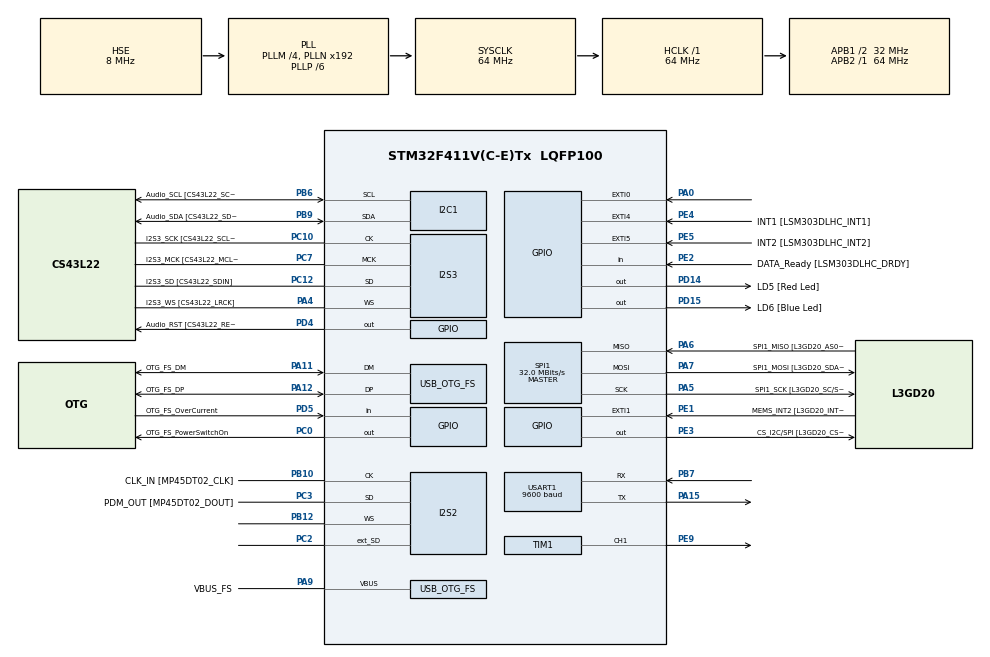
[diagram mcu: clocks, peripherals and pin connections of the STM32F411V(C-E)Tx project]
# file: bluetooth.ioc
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I2S2.AudioFreq=I2S_AUDIOFREQ_96K
I2S2.ErrorAudioFreq=0.15 %
I2S2.FullDuplexMode=I2S_FULLDUPLEXMODE_ENABLE
I2S2.Instance=SPI$Index
I2S2.RealAudioFreq=96.153 KHz
I2S2.VirtualMode=I2S_MODE_MASTER
I2S3.AudioFreq=I2S_AUDIOFREQ_96K
I2S3.ErrorAudioFreq=-6.99 %
I2S3.FullDuplexMode=I2S_FULLDUPLEXMODE_DISABLE
I2S3.Instance=SPI$Index
I2S3.RealAudioFreq=89.285 KHz
I2S3.VirtualMode=I2S_MODE_MASTER
Mcu.Family=STM32F4
Mcu.Name=STM32F411V(C-E)Tx
Mcu.Package=LQFP100
NVIC.OTG_FS_IRQn=true\:0\:0\:false\:false\:true\:true\:true
NVIC.PriorityGroup=NVIC_PRIORITYGROUP_0
PA0-WKUP.GPIO_ModeDefaultEXTI=GPIO_MODE_EVT_RISING
PA0-WKUP.Signal=GPXTI0
PA10.GPIO_Label=OTG_FS_ID
PA10.Signal=USB_OTG_FS_ID
PA11.GPIO_Label=OTG_FS_DM
PA11.Mode=Host_Only
PA11.Signal=USB_OTG_FS_DM
PA12.GPIO_Label=OTG_FS_DP
PA12.Mode=Host_Only
PA12.Signal=USB_OTG_FS_DP
PA13.GPIO_Label=SWDIO
PA13.Mode=Serial_Wire
PA13.Signal=SYS_JTMS-SWDIO
PA14.GPIO_Label=SWCLK
PA14.Mode=Serial_Wire
PA14.Signal=SYS_JTCK-SWCLK
PA15.Mode=Asynchronous
PA15.Signal=USART1_TX
PA4.GPIO_Label=I2S3_WS [CS43L22_LRCK]
PA4.GPIO_Mode=GPIO_MODE_AF_PP
PA4.GPIO_PuPd=GPIO_NOPULL
PA4.GPIO_Speed=GPIO_SPEED_FREQ_LOW
PA4.Mode=Half_Duplex_Master
PA4.Signal=I2S3_WS
PA5.GPIO_Label=SPI1_SCK [L3GD20_SC/SPC]
PA5.Mode=Full_Duplex_Master
PA5.Signal=SPI1_SCK
PA6.GPIO_Label=SPI1_MISO [L3GD20_AS0/SDO]
PA6.Mode=Full_Duplex_Master
PA6.Signal=SPI1_MISO
PA7.GPIO_Label=SPI1_MOSI [L3GD20_SDA/SDI/SDO]
PA7.Mode=Full_Duplex_Master
PA7.Signal=SPI1_MOSI
PA9.GPIO_Label=VBUS_FS
PA9.Mode=Activate_VBUS
PA9.Signal=USB_OTG_FS_VBUS
PB10.GPIO_Label=CLK_IN [MP45DT02_CLK]
PB10.Mode=Full_Duplex_Master
PB10.Signal=I2S2_CK
PB12.Mode=Full_Duplex_Master
PB12.Signal=I2S2_WS
PB3.GPIO_Label=SWO
PB3.Signal=SYS_JTDO-SWO
PB6.GPIO_Label=Audio_SCL [CS43L22_SCL]
PB6.GPIO_Mode=GPIO_MODE_AF_OD
PB6.GPIO_PuPd=GPIO_NOPULL
PB6.GPIO_Speed=GPIO_SPEED_FREQ_LOW
PB6.Mode=I2C
PB6.Signal=I2C1_SCL
PB7.Mode=Asynchronous
PB7.Signal=USART1_RX
PB9.GPIO_Label=Audio_SDA [CS43L22_SDA]
PB9.GPIO_Mode=GPIO_MODE_AF_OD
PB9.GPIO_PuPd=GPIO_NOPULL
PB9.GPIO_Speed=GPIO_SPEED_FREQ_LOW
PB9.Mode=I2C
PB9.Signal=I2C1_SDA
PC0.GPIO_Label=OTG_FS_PowerSwitchOn
PC0.PinState=GPIO_PIN_SET
PC0.Signal=GPIO_Output
PC10.GPIO_Label=I2S3_SCK [CS43L22_SCLK]
PC10.GPIO_Mode=GPIO_MODE_AF_PP
PC10.GPIO_PuPd=GPIO_NOPULL
PC10.GPIO_Speed=GPIO_SPEED_FREQ_LOW
PC10.Mode=Half_Duplex_Master
PC10.Signal=I2S3_CK
PC12.GPIO_Label=I2S3_SD [CS43L22_SDIN]
PC12.GPIO_Mode=GPIO_MODE_AF_PP
PC12.GPIO_PuPd=GPIO_NOPULL
PC12.GPIO_Speed=GPIO_SPEED_FREQ_LOW
PC12.Mode=Half_Duplex_Master
PC12.Signal=I2S3_SD
PC14-OSC32_IN.GPIO_Label=PC14-OSC32_IN
PC14-OSC32_IN.Mode=LSE-External-Oscillator
PC14-OSC32_IN.Signal=RCC_OSC32_IN
PC15-OSC32_OUT.GPIO_Label=PC15-OSC32_OUT
PC15-OSC32_OUT.Mode=LSE-External-Oscillator
PC15-OSC32_OUT.Signal=RCC_OSC32_OUT
PC2.Mode=Full_Duplex_Master
PC2.Signal=I2S2_ext_SD
PC3.GPIO_Label=PDM_OUT [MP45DT02_DOUT]
PC3.Mode=Full_Duplex_Master
PC3.Signal=I2S2_SD
PC7.GPIO_Label=I2S3_MCK [CS43L22_MCLK]
PC7.GPIO_Mode=GPIO_MODE_AF_PP
PC7.GPIO_PuPd=GPIO_NOPULL
PC7.GPIO_Speed=GPIO_SPEED_FREQ_LOW
PC7.Mode=Master_Clock_Activated
PC7.Signal=I2S3_MCK
PD14.GPIO_Label=LD5 [Red Led]
PD14.GPIO_PuPd=GPIO_NOPULL
PD14.GPIO_Speed=GPIO_SPEED_FREQ_LOW
PD14.Signal=GPIO_Output
PD15.GPIO_Label=LD6 [Blue Led]
PD15.GPIO_PuPd=GPIO_NOPULL
PD15.GPIO_Speed=GPIO_SPEED_FREQ_LOW
PD15.Signal=GPIO_Output
PD4.GPIO_Label=Audio_RST [CS43L22_RESET]
PD4.Signal=GPIO_Output
PD5.GPIO_Label=OTG_FS_OverCurrent
PD5.Signal=GPIO_Input
PE1.GPIO_Label=MEMS_INT2 [L3GD20_INT2]
PE1.GPIO_ModeDefaultEXTI=GPIO_MODE_EVT_RISING
PE1.Signal=GPXTI1
PE2.GPIO_Label=DATA_Ready [LSM303DLHC_DRDY]
PE2.Signal=GPIO_Input
PE3.GPIO_Label=CS_I2C/SPI [L3GD20_CS_I2C/SPI]
PE3.Signal=GPIO_Output
PE4.GPIO_Label=INT1 [LSM303DLHC_INT1]
PE4.GPIO_ModeDefaultEXTI=GPIO_MODE_EVT_RISING
PE4.Signal=GPXTI4
PE5.GPIO_Label=INT2 [LSM303DLHC_INT2]
PE5.GPIO_ModeDefaultEXTI=GPIO_MODE_EVT_RISING
PE5.Signal=GPXTI5
PE9.Signal=S_TIM1_CH1
PH0\ -\ OSC_IN.GPIO_Label=PH0-OSC_IN
PH0\ -\ OSC_IN.Mode=HSE-External-Clock-Source
PH0\ -\ OSC_IN.Signal=RCC_OSC_IN
PH1\ -\ OSC_OUT.GPIO_Label=PH1-OSC_OUT
PH1\ -\ OSC_OUT.Mode=HSE-External-Clock-Source
PH1\ -\ OSC_OUT.Signal=RCC_OSC_OUT
ProjectManager.HeapSize=0x200
ProjectManager.StackSize=0x400
ProjectManager.TargetToolchain=STM32CubeIDE
RCC.48MHZClocksFreq_Value=48000000
RCC.AHBFreq_Value=64000000
RCC.APB1CLKDivider=RCC_HCLK_DIV2
RCC.APB1Freq_Value=32000000
RCC.APB1TimFreq_Value=64000000
RCC.APB2Freq_Value=64000000
RCC.APB2TimFreq_Value=64000000
RCC.CortexFreq_Value=64000000
RCC.HCLKFreq_Value=64000000
RCC.HSE_VALUE=8000000
RCC.HSI_VALUE=16000000
RCC.PLLI2SM=5
RCC.PLLI2SN=200
RCC.PLLM=4
RCC.PLLP=RCC_PLLP_DIV6
RCC.PLLQ=8
RCC.SYSCLKFreq_VALUE=64000000
RCC.SYSCLKSource=RCC_SYSCLKSOURCE_PLLCLK
RCC.VCOOutputFreq_Value=384000000
SH.S_TIM1_CH1.0=TIM1_CH1,PWM Generation1 CH1
SPI1.BaudRatePrescaler=SPI_BAUDRATEPRESCALER_2
SPI1.CalculateBaudRate=32.0 MBits/s
SPI1.Direction=SPI_DIRECTION_2LINES
SPI1.Mode=SPI_MODE_MASTER
SPI1.VirtualType=VM_MASTER
TIM1.Channel-PWM\ Generation1\ CH1=TIM_CHANNEL_1
USART1.BaudRate=9600
USART1.VirtualMode=VM_ASYNC
USB_HOST.BSP.number=1
USB_HOST.USBH_HandleTypeDef=hUsbHostFS
USB_HOST.VirtualModeFS=Cdc
USB_HOST0.BSP.STBoard=false
USB_HOST0.BSP.api=Unknown
USB_HOST0.BSP.i2caddr=0
USB_HOST0.BSP.i2creg=0
USB_HOST0.BSP.instance=PC0
USB_HOST0.BSP.ip=GPIO
USB_HOST0.BSP.mode=Output
USB_HOST0.BSP.name=Drive_VBUS_FS
USB_HOST0.BSP.solution=PC0
USB_OTG_FS.VirtualMode=Host_Only
USB_OTG_FS.phy_itface=HCD_PHY_EMBEDDED
VP_USB_HOST_VS_USB_HOST_CDC_FS.Mode=CDC_FS
board=STM32F411E-DISCO

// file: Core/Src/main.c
/* USER CODE BEGIN Header */
/**
  ******************************************************************************
  * @file           : main.c
  * @brief          : Main program body
  ******************************************************************************
  * @attention
  *
  * <h2><center>&copy; Copyright (c) 2020 STMicroelectronics.
  * All rights reserved.</center></h2>
  *
  * This software component is licensed by ST under Ultimate Liberty license
  * SLA0044, the "License"; You may not use this file except in compliance with
  * the License. You may obtain a copy of the License at:
  *                             www.st.com/SLA0044
  *
  ******************************************************************************
  */
/* USER CODE END Header */

#include "main.h"
#include "usb_host.h"

I2C_HandleTypeDef hi2c1;

I2S_HandleTypeDef hi2s2;
I2S_HandleTypeDef hi2s3;

SPI_HandleTypeDef hspi1;

TIM_HandleTypeDef htim1;

UART_HandleTypeDef huart1;

void SystemClock_Config(void);
static void MX_GPIO_Init(void);
static void MX_I2C1_Init(void);
static void MX_I2S2_Init(void);
static void MX_I2S3_Init(void);
static void MX_SPI1_Init(void);
static void MX_USART1_UART_Init(void);
static void MX_TIM1_Init(void);
void MX_USB_HOST_Process(void);

/* USER CODE BEGIN 0 */
#ifndef DWT_STM32_DELAY_H
#define DWT_STM32_DELAY_H

#ifdef __cplusplus
extern "C" {
#endif

#include "stm32f4xx_hal.h"
uint32_t DWT_Delay_Init(void);

/**
 * @brief  This function provides a delay (in microseconds)
 * @param  microseconds: delay in microseconds
 */
__STATIC_INLINE void DWT_Delay_us(volatile uint32_t microseconds)
{
  uint32_t clk_cycle_start = DWT->CYCCNT;

  /* Go to number of cycles for system */
  microseconds *= (HAL_RCC_GetHCLKFreq() / 1000000);

  /* Delay till end */
  while ((DWT->CYCCNT - clk_cycle_start) < microseconds);
}

#ifdef __cplusplus
}
#endif

#endif
/* USER CODE END 0 */

int main(void)
{
  /* USER CODE BEGIN 1 */
	uint8_t message[5];
	int distance;
	uint8_t str[]="Hello, stm32\n";
  /* USER CODE END 1 */

  /* MCU Configuration--------------------------------------------------------*/

  /* Reset of all peripherals, Initializes the Flash interface and the Systick. */
  HAL_Init();

  /* Configure the system clock */
  SystemClock_Config();

  /* Initialize all configured peripherals */
  MX_GPIO_Init();
  MX_I2C1_Init();
  MX_I2S2_Init();
  MX_I2S3_Init();
  MX_SPI1_Init();
  MX_USB_HOST_Init();
  MX_USART1_UART_Init();
  MX_TIM1_Init();

  /* Infinite loop */
  while (1)
  {
    //MX_USB_HOST_Process();
	  HAL_UART_Transmit(&huart1,str,13,1000);
	  HAL_Delay(1000);
  }
}

void SystemClock_Config(void)
{
  RCC_OscInitTypeDef RCC_OscInitStruct = {0};
  RCC_ClkInitTypeDef RCC_ClkInitStruct = {0};
  RCC_PeriphCLKInitTypeDef PeriphClkInitStruct = {0};

  /** Configure the main internal regulator output voltage
  */
  __HAL_RCC_PWR_CLK_ENABLE();
  __HAL_PWR_VOLTAGESCALING_CONFIG(PWR_REGULATOR_VOLTAGE_SCALE1);
  /** Initializes the CPU, AHB and APB busses clocks
  */
  RCC_OscInitStruct.OscillatorType = RCC_OSCILLATORTYPE_HSE;
  RCC_OscInitStruct.HSEState = RCC_HSE_BYPASS;
  RCC_OscInitStruct.PLL.PLLState = RCC_PLL_ON;
  RCC_OscInitStruct.PLL.PLLSource = RCC_PLLSOURCE_HSE;
  RCC_OscInitStruct.PLL.PLLM = 4;
  RCC_OscInitStruct.PLL.PLLN = 192;
  RCC_OscInitStruct.PLL.PLLP = RCC_PLLP_DIV6;
  RCC_OscInitStruct.PLL.PLLQ = 8;
  if (HAL_RCC_OscConfig(&RCC_OscInitStruct) != HAL_OK)
  {
    Error_Handler();
  }
  /** Initializes the CPU, AHB and APB busses clocks
  */
  RCC_ClkInitStruct.ClockType = RCC_CLOCKTYPE_HCLK|RCC_CLOCKTYPE_SYSCLK
                              |RCC_CLOCKTYPE_PCLK1|RCC_CLOCKTYPE_PCLK2;
  RCC_ClkInitStruct.SYSCLKSource = RCC_SYSCLKSOURCE_PLLCLK;
  RCC_ClkInitStruct.AHBCLKDivider = RCC_SYSCLK_DIV1;
  RCC_ClkInitStruct.APB1CLKDivider = RCC_HCLK_DIV2;
  RCC_ClkInitStruct.APB2CLKDivider = RCC_HCLK_DIV1;

  if (HAL_RCC_ClockConfig(&RCC_ClkInitStruct, FLASH_LATENCY_0) != HAL_OK)
  {
    Error_Handler();
  }
  PeriphClkInitStruct.PeriphClockSelection = RCC_PERIPHCLK_I2S;
  PeriphClkInitStruct.PLLI2S.PLLI2SN = 200;
  PeriphClkInitStruct.PLLI2S.PLLI2SM = 5;
  PeriphClkInitStruct.PLLI2S.PLLI2SR = 2;
  if (HAL_RCCEx_PeriphCLKConfig(&PeriphClkInitStruct) != HAL_OK)
  {
    Error_Handler();
  }
}

static void MX_I2C1_Init(void)
{

  hi2c1.Instance = I2C1;
  hi2c1.Init.ClockSpeed = 100000;
  hi2c1.Init.DutyCycle = I2C_DUTYCYCLE_2;
  hi2c1.Init.OwnAddress1 = 0;
  hi2c1.Init.AddressingMode = I2C_ADDRESSINGMODE_7BIT;
  hi2c1.Init.DualAddressMode = I2C_DUALADDRESS_DISABLE;
  hi2c1.Init.OwnAddress2 = 0;
  hi2c1.Init.GeneralCallMode = I2C_GENERALCALL_DISABLE;
  hi2c1.Init.NoStretchMode = I2C_NOSTRETCH_DISABLE;
  if (HAL_I2C_Init(&hi2c1) != HAL_OK)
  {
    Error_Handler();
  }

}

static void MX_I2S2_Init(void)
{

  hi2s2.Instance = SPI2;
  hi2s2.Init.Mode = I2S_MODE_MASTER_TX;
  hi2s2.Init.Standard = I2S_STANDARD_PHILIPS;
  hi2s2.Init.DataFormat = I2S_DATAFORMAT_16B;
  hi2s2.Init.MCLKOutput = I2S_MCLKOUTPUT_DISABLE;
  hi2s2.Init.AudioFreq = I2S_AUDIOFREQ_96K;
  hi2s2.Init.CPOL = I2S_CPOL_LOW;
  hi2s2.Init.ClockSource = I2S_CLOCK_PLL;
  hi2s2.Init.FullDuplexMode = I2S_FULLDUPLEXMODE_ENABLE;
  if (HAL_I2S_Init(&hi2s2) != HAL_OK)
  {
    Error_Handler();
  }

}

static void MX_I2S3_Init(void)
{

  hi2s3.Instance = SPI3;
  hi2s3.Init.Mode = I2S_MODE_MASTER_TX;
  hi2s3.Init.Standard = I2S_STANDARD_PHILIPS;
  hi2s3.Init.DataFormat = I2S_DATAFORMAT_16B;
  hi2s3.Init.MCLKOutput = I2S_MCLKOUTPUT_ENABLE;
  hi2s3.Init.AudioFreq = I2S_AUDIOFREQ_96K;
  hi2s3.Init.CPOL = I2S_CPOL_LOW;
  hi2s3.Init.ClockSource = I2S_CLOCK_PLL;
  hi2s3.Init.FullDuplexMode = I2S_FULLDUPLEXMODE_DISABLE;
  if (HAL_I2S_Init(&hi2s3) != HAL_OK)
  {
    Error_Handler();
  }

}

static void MX_SPI1_Init(void)
{

  /* SPI1 parameter configuration*/
  hspi1.Instance = SPI1;
  hspi1.Init.Mode = SPI_MODE_MASTER;
  hspi1.Init.Direction = SPI_DIRECTION_2LINES;
  hspi1.Init.DataSize = SPI_DATASIZE_8BIT;
  hspi1.Init.CLKPolarity = SPI_POLARITY_LOW;
  hspi1.Init.CLKPhase = SPI_PHASE_1EDGE;
  hspi1.Init.NSS = SPI_NSS_SOFT;
  hspi1.Init.BaudRatePrescaler = SPI_BAUDRATEPRESCALER_2;
  hspi1.Init.FirstBit = SPI_FIRSTBIT_MSB;
  hspi1.Init.TIMode = SPI_TIMODE_DISABLE;
  hspi1.Init.CRCCalculation = SPI_CRCCALCULATION_DISABLE;
  hspi1.Init.CRCPolynomial = 10;
  if (HAL_SPI_Init(&hspi1) != HAL_OK)
  {
    Error_Handler();
  }

}

static void MX_TIM1_Init(void)
{

  TIM_MasterConfigTypeDef sMasterConfig = {0};
  TIM_OC_InitTypeDef sConfigOC = {0};
  TIM_BreakDeadTimeConfigTypeDef sBreakDeadTimeConfig = {0};

  htim1.Instance = TIM1;
  htim1.Init.Prescaler = 0;
  htim1.Init.CounterMode = TIM_COUNTERMODE_UP;
  htim1.Init.Period = 0;
  htim1.Init.ClockDivision = TIM_CLOCKDIVISION_DIV1;
  htim1.Init.RepetitionCounter = 0;
  htim1.Init.AutoReloadPreload = TIM_AUTORELOAD_PRELOAD_DISABLE;
  if (HAL_TIM_PWM_Init(&htim1) != HAL_OK)
  {
    Error_Handler();
  }
  sMasterConfig.MasterOutputTrigger = TIM_TRGO_RESET;
  sMasterConfig.MasterSlaveMode = TIM_MASTERSLAVEMODE_DISABLE;
  if (HAL_TIMEx_MasterConfigSynchronization(&htim1, &sMasterConfig) != HAL_OK)
  {
    Error_Handler();
  }
  sConfigOC.OCMode = TIM_OCMODE_PWM1;
  sConfigOC.Pulse = 0;
  sConfigOC.OCPolarity = TIM_OCPOLARITY_HIGH;
  sConfigOC.OCNPolarity = TIM_OCNPOLARITY_HIGH;
  sConfigOC.OCFastMode = TIM_OCFAST_DISABLE;
  sConfigOC.OCIdleState = TIM_OCIDLESTATE_RESET;
  sConfigOC.OCNIdleState = TIM_OCNIDLESTATE_RESET;
  if (HAL_TIM_PWM_ConfigChannel(&htim1, &sConfigOC, TIM_CHANNEL_1) != HAL_OK)
  {
    Error_Handler();
  }
  sBreakDeadTimeConfig.OffStateRunMode = TIM_OSSR_DISABLE;
  sBreakDeadTimeConfig.OffStateIDLEMode = TIM_OSSI_DISABLE;
  sBreakDeadTimeConfig.LockLevel = TIM_LOCKLEVEL_OFF;
  sBreakDeadTimeConfig.DeadTime = 0;
  sBreakDeadTimeConfig.BreakState = TIM_BREAK_DISABLE;
  sBreakDeadTimeConfig.BreakPolarity = TIM_BREAKPOLARITY_HIGH;
  sBreakDeadTimeConfig.AutomaticOutput = TIM_AUTOMATICOUTPUT_DISABLE;
  if (HAL_TIMEx_ConfigBreakDeadTime(&htim1, &sBreakDeadTimeConfig) != HAL_OK)
  {
    Error_Handler();
  }
  HAL_TIM_MspPostInit(&htim1);

}

static void MX_USART1_UART_Init(void)
{

  huart1.Instance = USART1;
  huart1.Init.BaudRate = 9600;
  huart1.Init.WordLength = UART_WORDLENGTH_8B;
  huart1.Init.StopBits = UART_STOPBITS_1;
  huart1.Init.Parity = UART_PARITY_NONE;
  huart1.Init.Mode = UART_MODE_TX_RX;
  huart1.Init.HwFlowCtl = UART_HWCONTROL_NONE;
  huart1.Init.OverSampling = UART_OVERSAMPLING_16;
  if (HAL_UART_Init(&huart1) != HAL_OK)
  {
    Error_Handler();
  }

}

static void MX_GPIO_Init(void)
{
  GPIO_InitTypeDef GPIO_InitStruct = {0};

  /* GPIO Ports Clock Enable */
  __HAL_RCC_GPIOE_CLK_ENABLE();
  __HAL_RCC_GPIOC_CLK_ENABLE();
  __HAL_RCC_GPIOH_CLK_ENABLE();
  __HAL_RCC_GPIOA_CLK_ENABLE();
  __HAL_RCC_GPIOB_CLK_ENABLE();
  __HAL_RCC_GPIOD_CLK_ENABLE();

  /*Configure GPIO pin Output Level */
  HAL_GPIO_WritePin(CS_I2C_SPI_GPIO_Port, CS_I2C_SPI_Pin, GPIO_PIN_RESET);

  /*Configure GPIO pin Output Level */
  HAL_GPIO_WritePin(OTG_FS_PowerSwitchOn_GPIO_Port, OTG_FS_PowerSwitchOn_Pin, GPIO_PIN_SET);

  /*Configure GPIO pin Output Level */
  HAL_GPIO_WritePin(GPIOD, LD5_Pin|LD6_Pin|Audio_RST_Pin, GPIO_PIN_RESET);

  /*Configure GPIO pin : DATA_Ready_Pin */
  GPIO_InitStruct.Pin = DATA_Ready_Pin;
  GPIO_InitStruct.Mode = GPIO_MODE_INPUT;
  GPIO_InitStruct.Pull = GPIO_NOPULL;
  HAL_GPIO_Init(DATA_Ready_GPIO_Port, &GPIO_InitStruct);

  /*Configure GPIO pin : CS_I2C_SPI_Pin */
  GPIO_InitStruct.Pin = CS_I2C_SPI_Pin;
  GPIO_InitStruct.Mode = GPIO_MODE_OUTPUT_PP;
  GPIO_InitStruct.Pull = GPIO_NOPULL;
  GPIO_InitStruct.Speed = GPIO_SPEED_FREQ_LOW;
  HAL_GPIO_Init(CS_I2C_SPI_GPIO_Port, &GPIO_InitStruct);

  /*Configure GPIO pins : INT1_Pin INT2_Pin MEMS_INT2_Pin */
  GPIO_InitStruct.Pin = INT1_Pin|INT2_Pin|MEMS_INT2_Pin;
  GPIO_InitStruct.Mode = GPIO_MODE_EVT_RISING;
  GPIO_InitStruct.Pull = GPIO_NOPULL;
  HAL_GPIO_Init(GPIOE, &GPIO_InitStruct);

  /*Configure GPIO pin : OTG_FS_PowerSwitchOn_Pin */
  GPIO_InitStruct.Pin = OTG_FS_PowerSwitchOn_Pin;
  GPIO_InitStruct.Mode = GPIO_MODE_OUTPUT_PP;
  GPIO_InitStruct.Pull = GPIO_NOPULL;
  GPIO_InitStruct.Speed = GPIO_SPEED_FREQ_LOW;
  HAL_GPIO_Init(OTG_FS_PowerSwitchOn_GPIO_Port, &GPIO_InitStruct);

  /*Configure GPIO pin : PA0 */
  GPIO_InitStruct.Pin = GPIO_PIN_0;
  GPIO_InitStruct.Mode = GPIO_MODE_EVT_RISING;
  GPIO_InitStruct.Pull = GPIO_NOPULL;
  HAL_GPIO_Init(GPIOA, &GPIO_InitStruct);

  /*Configure GPIO pins : LD5_Pin LD6_Pin Audio_RST_Pin */
  GPIO_InitStruct.Pin = LD5_Pin|LD6_Pin|Audio_RST_Pin;
  GPIO_InitStruct.Mode = GPIO_MODE_OUTPUT_PP;
  GPIO_InitStruct.Pull = GPIO_NOPULL;
  GPIO_InitStruct.Speed = GPIO_SPEED_FREQ_LOW;
  HAL_GPIO_Init(GPIOD, &GPIO_InitStruct);

  /*Configure GPIO pin : OTG_FS_OverCurrent_Pin */
  GPIO_InitStruct.Pin = OTG_FS_OverCurrent_Pin;
  GPIO_InitStruct.Mode = GPIO_MODE_INPUT;
  GPIO_InitStruct.Pull = GPIO_NOPULL;
  HAL_GPIO_Init(OTG_FS_OverCurrent_GPIO_Port, &GPIO_InitStruct);

}

void Error_Handler(void)
{
}

/************************ (C) COPYRIGHT STMicroelectronics *****END OF FILE****/
